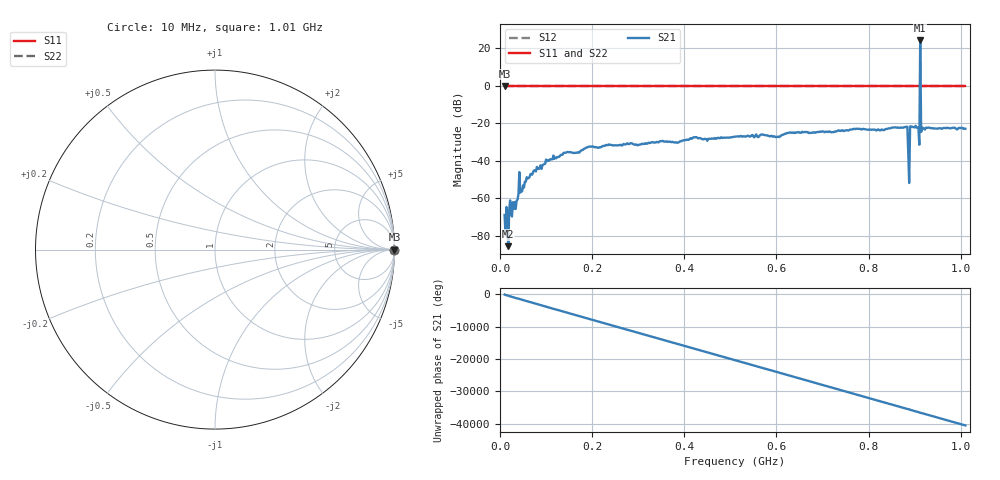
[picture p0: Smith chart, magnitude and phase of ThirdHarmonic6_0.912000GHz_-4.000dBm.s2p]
! 8/16/2025 5:50:11 AM
! C:\ANRITSUVNA\TEMP\TEMP.S2P
! CHANNEL.1
! TR.MEASUREMENT
! RAW.DATA
! RF.CORRECTION.OFF
! AVERAGING.OFF
! IF.BANDWIDTH: 5KHZ
! SWEEPTYPE:  FREQ.SWEEP(Linear)
! Reference Plane Port Info
! PORT:  PORT1  PORT2
! DISTANCE:  0  m  0  m
! TIME:  0  s  0  s
! PHASE.OFFSET:  0  deg.  0  deg.
! LOSS:  0  dB  0  dB
! REF.LOSS:  0  dB  0  dB
! REF.FREQ:  0  Hz  0  Hz
! Power Info
! POWER:  -20  dBm  -20  dBm
! EFF.POWER:  -20  dBm  -20  dBm
! SOURCE.ATTEN:  0  dB  0  dB
! TEST.ATTEN:  0  dB  0  dB
# GHZ S RI R 50.0
! FREQ.GHZ  S11RE  S11IM  S21RE  S21IM  S12RE  S12IM  S22RE  S22IM
!; PortSelection: Port_12
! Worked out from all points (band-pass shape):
!   501 points, 10 MHz to 1.01 GHz, reference 50 ohm
!   highest |S21| = 24.19 dB at 912 MHz (marker M1); lowest = -85.4 dB at 18 MHz (marker M2)
!   |S21| within 3 dB of the highest: 911.8921 MHz to 912.1231 MHz (231.1 kHz wide, 0.0253 % of centre)
!   lowest |S11| = 0.0 dB at 10 MHz (marker M3)
!   |S11| at or under -10 dB: nowhere
!   |S22| runs from 0.0 to 0.0 dB; largest |S21 - S12| = 17
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0.01  1 0  -0.000172 -0.00032  1 0  1 0
0.014  1 0  0.000582 0.000102  1 0  1 0
0.018  1 0  -1e-05 -5.26e-05  1 0  1 0
0.034  1 0  -0.00019 -0.000489  1 0  1 0
0.046  1 0  -0.00154 0.000692  1 0  1 0
0.076  1 0  0.00558 0.000323  1 0  1 0
0.142  1 0  -0.0152 -0.00636  1 0  1 0
0.178  1 0  -0.0187 -0.00538  1 0  1 0
0.344  1 0  0.0308 -0.00407  1 0  1 0
0.51  1 0  -0.0432 0.00962  1 0  1 0
0.678  1 0  -0.0149 -0.055  1 0  1 0
0.844  1 0  0.0392 0.0624  1 0  1 0
0.88  1 0  0.0567 0.0561  1 0  1 0
0.884  1 0  -0.0352 -0.0735  1 0  1 0
0.89  1 0  0.0825 -0.00194  1 0  1 0
0.894  1 0  -0.0793 -0.0217  1 0  1 0
0.906  1 0  0.0249 0.0734  1 0  1 0
0.908  1 0  0.075 -0.0106  1 0  1 0
0.912  1 0  -13.24 9.339  1 0  1 0
0.916  1 0  0.0674 0.0376  1 0  1 0
0.918  1 0  0.0462 -0.0601  1 0  1 0
1.01  1 0  -0.0656 -0.0297  1 0  1 0
